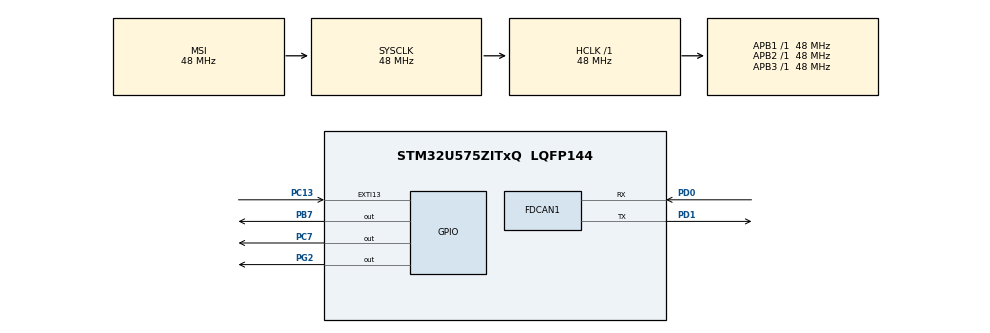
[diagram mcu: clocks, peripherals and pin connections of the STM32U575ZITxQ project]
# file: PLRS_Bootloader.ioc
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CORTEX_M33_NS.userName=CORTEX_M33
FDCAN1.AutoRetransmission=ENABLE
FDCAN1.CalculateBaudRateNominal=500000
FDCAN1.CalculateTimeBitNominal=2000
FDCAN1.CalculateTimeQuantumNominal=100.0
FDCAN1.DataPrescaler=2
FDCAN1.DataSyncJumpWidth=11
FDCAN1.DataTimeSeg1=13
FDCAN1.DataTimeSeg2=11
FDCAN1.ExtFiltersNbr=1
FDCAN1.FrameFormat=FDCAN_FRAME_FD_BRS
FDCAN1.NominalPrescaler=5
FDCAN1.NominalSyncJumpWidth=3
FDCAN1.NominalTimeSeg1=16
FDCAN1.NominalTimeSeg2=3
FDCAN1.StdFiltersNbr=1
Mcu.Family=STM32U5
Mcu.Name=STM32U575ZITxQ
Mcu.Package=LQFP144
NUCLEO-U575ZI-Q.BUTTON=1
NUCLEO-U575ZI-Q.LD1=true
NUCLEO-U575ZI-Q.LD2=true
NUCLEO-U575ZI-Q.LD3=true
NUCLEO-U575ZI-Q.VCP=true
NVIC.EXTI13_IRQn=true\:0\:0\:false\:false\:true\:false\:true\:true
NVIC.PriorityGroup=NVIC_PRIORITYGROUP_3
NVIC.TIM17_IRQn=true\:7\:0\:false\:false\:true\:false\:true\:true
NVIC.TimeBase=TIM17_IRQn
NVIC.TimeBaseIP=TIM17
PA10.Signal=USART1_RX
PA13\ (JTMS/SWDIO).Signal=DEBUG_JTMS-SWDIO
PA14\ (JTCK/SWCLK).Signal=DEBUG_JTCK-SWCLK
PA9.Signal=USART1_TX
PB3\ (JTDO/TRACESWO).Signal=DEBUG_JTDO-SWO
PB7.Signal=GPIO_Output
PC13.Signal=GPXTI13
PC14-OSC32_IN\ (PC14).Signal=RCC_OSC32_IN
PC15-OSC32_OUT\ (PC15).Signal=RCC_OSC32_OUT
PC7.Signal=GPIO_Output
PD0.Mode=FDCAN_Activate
PD0.Signal=FDCAN1_RX
PD1.Mode=FDCAN_Activate
PD1.Signal=FDCAN1_TX
PG2.Signal=GPIO_Output
PWR.PowerMode=PWR_SMPS_SUPPLY
ProjectManager.HeapSize=0x200
ProjectManager.StackSize=0x400
ProjectManager.TargetToolchain=STM32CubeIDE
RCC.ADCFreq_Value=16000000
RCC.AHBFreq_Value=48000000
RCC.APB1Freq_Value=48000000
RCC.APB1TimFreq_Value=48000000
RCC.APB2Freq_Value=48000000
RCC.APB2TimFreq_Value=48000000
RCC.APB3Freq_Value=48000000
RCC.CortexFreq_Value=48000000
RCC.DACCLockSelectionVirtual=RCC_DAC1CLKSOURCE_LSI
RCC.EPOD_VALUE=48000000
RCC.HCLKFreq_Value=48000000
RCC.HSE_VALUE=16000000
RCC.HSI48_VALUE=48000000
RCC.HSI_VALUE=16000000
RCC.LSE_VALUE=32768
RCC.LSIDIV_VALUE=32000
RCC.MSIClockRange=RCC_MSIRANGE_0
RCC.MSI_VALUE=48000000
RCC.PLL1Q=3
RCC.PLLFRACN=3072
RCC.PLLM=3
RCC.PLLN=9
RCC.SYSCLKFreq_VALUE=48000000
RCC.USBFreq_Value=48000000
RCC.VCOOutputFreq_Value=150000000
VP_ICACHE_VS_ENABLE_ICACHE_MEMORY.Mode=Memoryregions
VP_ICACHE_VS_ICACHE.Mode=DirectMappedCache
VP_LPBAMQUEUE_VS_QUEUE.Mode=QUEUEMODE
VP_LPBAM_VS_SIG1.Mode=SmartRun
VP_LPBAM_VS_SIG4.Mode=LPDMA1
VP_MEMORYMAP_VS_MEMORYMAP.Mode=CurAppReg
VP_NUCLEO-U575ZI-Q_VS_BSP_COMMON.Mode=COMMON
VP_PWR_VS_DBSignals.Mode=DisableDeadBatterySignals
VP_PWR_VS_LPOM.Mode=PowerOptimisation
VP_PWR_VS_SECSignals.Mode=Security/Privilege
VP_SYS_VS_tim17.Mode=TIM17
board=NUCLEO-U575ZI-Q

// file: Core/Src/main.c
/* USER CODE BEGIN Header */
/* USER CODE END Header */
#include "main.h"

/* USER CODE BEGIN Includes */
#include <string.h>
#include "flash_util.h"
/* USER CODE END Includes */

/* USER CODE BEGIN PTD */
typedef void (*pFunction)(void);
/* USER CODE END PTD */

/* USER CODE BEGIN PM */
#define MEM_LOWER_BOUND 0x20000000
#define MEM_UPPER_BOUND 0x200C0000
#define APP_DEFAULT_ADD  0x08100000  //Start of bank 2 data. This is the start of the running application
#define APP_LOAD_ADD  0x08020000	//Start of bank 1 data
#define APP_MAX_SIZE 0xE0000
#define BOOT_FLAG_ADD 0x0801E000
#define BOOT_FLAG 0xDEADBEEF
/* USER CODE END PM */

COM_InitTypeDef BspCOMInit;
FDCAN_HandleTypeDef hfdcan1;

void SystemClock_Config(void);
static void SystemPower_Config(void);
static void MX_GPIO_Init(void);
static void MX_ICACHE_Init(void);
static void MX_FDCAN1_Init(void);
void Flash_Erase(int start_page, int num_pages, int bank);
void Flash_Write(uint32_t address, uint8_t *data, uint32_t length);

/**
  * @brief  Bootloader entry point. On restart, the reset vector is initialized to enter here.
  * @retval int
  */
int main(void)
{
  /* USER CODE BEGIN 1 */
	while(1){
		//Simulate_FDCAN_Receive(data, data_len);
		//Copy to bank 2 if boot flag is true
		if ((*(uint32_t*)BOOT_FLAG_ADD) == BOOT_FLAG) {
			Flash_Erase(1,128,2); //wipe bank2 before writing to avoid artifacts
			Flash_Write(APP_DEFAULT_ADD, (uint8_t *)APP_LOAD_ADD, APP_MAX_SIZE);
		}
		//Jump to application
		//SCB->VTOR = APP_DEFAULT_ADD;
		uint32_t sp = *(__IO uint32_t*) APP_DEFAULT_ADD;
		if (sp >= MEM_LOWER_BOUND && sp <= MEM_UPPER_BOUND){
			__set_MSP(*(__IO uint32_t *)APP_DEFAULT_ADD);
			((pFunction)(*(__IO uint32_t *)(APP_DEFAULT_ADD + 4)))();
		}
	}
  /* USER CODE END 1 */

  /* MCU Configuration--------------------------------------------------------*/

  /* Reset of all peripherals, Initializes the Flash interface and the Systick. */
  HAL_Init();

  /* Configure the System Power */
  SystemPower_Config();

  /* Configure the system clock */
  SystemClock_Config();

  /* Initialize all configured peripherals */
  MX_GPIO_Init();
  MX_ICACHE_Init();
  MX_FDCAN1_Init();

  /* Initialize leds */
  BSP_LED_Init(LED_GREEN);
  BSP_LED_Init(LED_BLUE);
  BSP_LED_Init(LED_RED);

  /* Initialize USER push-button, will be used to trigger an interrupt each time it's pressed.*/
  BSP_PB_Init(BUTTON_USER, BUTTON_MODE_EXTI);

  /* Initialize COM1 port (115200, 8 bits (7-bit data + 1 stop bit), no parity */
  BspCOMInit.BaudRate   = 115200;
  BspCOMInit.WordLength = COM_WORDLENGTH_8B;
  BspCOMInit.StopBits   = COM_STOPBITS_1;
  BspCOMInit.Parity     = COM_PARITY_NONE;
  BspCOMInit.HwFlowCtl  = COM_HWCONTROL_NONE;
  if (BSP_COM_Init(COM1, &BspCOMInit) != BSP_ERROR_NONE)
  {
    Error_Handler();
  }

  /* Infinite loop */
  BSP_LED_On(LED_GREEN);
  BSP_LED_On(LED_BLUE);
  BSP_LED_On(LED_RED);
}

void SystemClock_Config(void)
{
  RCC_OscInitTypeDef RCC_OscInitStruct = {0};
  RCC_ClkInitTypeDef RCC_ClkInitStruct = {0};

  /** Configure the main internal regulator output voltage
  */
  if (HAL_PWREx_ControlVoltageScaling(PWR_REGULATOR_VOLTAGE_SCALE3) != HAL_OK)
  {
    Error_Handler();
  }

  /** Initializes the CPU, AHB and APB buses clocks
  */
  RCC_OscInitStruct.OscillatorType = RCC_OSCILLATORTYPE_MSI;
  RCC_OscInitStruct.MSIState = RCC_MSI_ON;
  RCC_OscInitStruct.MSICalibrationValue = RCC_MSICALIBRATION_DEFAULT;
  RCC_OscInitStruct.MSIClockRange = RCC_MSIRANGE_0;
  RCC_OscInitStruct.PLL.PLLState = RCC_PLL_ON;
  RCC_OscInitStruct.PLL.PLLSource = RCC_PLLSOURCE_MSI;
  RCC_OscInitStruct.PLL.PLLMBOOST = RCC_PLLMBOOST_DIV4;
  RCC_OscInitStruct.PLL.PLLM = 3;
  RCC_OscInitStruct.PLL.PLLN = 9;
  RCC_OscInitStruct.PLL.PLLP = 2;
  RCC_OscInitStruct.PLL.PLLQ = 3;
  RCC_OscInitStruct.PLL.PLLR = 2;
  RCC_OscInitStruct.PLL.PLLRGE = RCC_PLLVCIRANGE_1;
  RCC_OscInitStruct.PLL.PLLFRACN = 3072;
  if (HAL_RCC_OscConfig(&RCC_OscInitStruct) != HAL_OK)
  {
    Error_Handler();
  }

  /** Initializes the CPU, AHB and APB buses clocks
  */
  RCC_ClkInitStruct.ClockType = RCC_CLOCKTYPE_HCLK|RCC_CLOCKTYPE_SYSCLK
                              |RCC_CLOCKTYPE_PCLK1|RCC_CLOCKTYPE_PCLK2
                              |RCC_CLOCKTYPE_PCLK3;
  RCC_ClkInitStruct.SYSCLKSource = RCC_SYSCLKSOURCE_MSI;
  RCC_ClkInitStruct.AHBCLKDivider = RCC_SYSCLK_DIV1;
  RCC_ClkInitStruct.APB1CLKDivider = RCC_HCLK_DIV1;
  RCC_ClkInitStruct.APB2CLKDivider = RCC_HCLK_DIV1;
  RCC_ClkInitStruct.APB3CLKDivider = RCC_HCLK_DIV1;

  if (HAL_RCC_ClockConfig(&RCC_ClkInitStruct, FLASH_LATENCY_1) != HAL_OK)
  {
    Error_Handler();
  }
}

/**
  * @brief Power Configuration
  * @retval None
  */
static void SystemPower_Config(void)
{

  /*
   * Disable the internal Pull-Up in Dead Battery pins of UCPD peripheral
   */
  HAL_PWREx_DisableUCPDDeadBattery();

  /*
   * Switch to SMPS regulator instead of LDO
   */
  if (HAL_PWREx_ConfigSupply(PWR_SMPS_SUPPLY) != HAL_OK)
  {
    Error_Handler();
  }
}

static void MX_FDCAN1_Init(void)
{

  hfdcan1.Instance = FDCAN1;
  hfdcan1.Init.ClockDivider = FDCAN_CLOCK_DIV1;
  hfdcan1.Init.FrameFormat = FDCAN_FRAME_FD_BRS;
  hfdcan1.Init.Mode = FDCAN_MODE_NORMAL;
  hfdcan1.Init.AutoRetransmission = ENABLE;
  hfdcan1.Init.TransmitPause = DISABLE;
  hfdcan1.Init.ProtocolException = DISABLE;
  hfdcan1.Init.NominalPrescaler = 5;
  hfdcan1.Init.NominalSyncJumpWidth = 3;
  hfdcan1.Init.NominalTimeSeg1 = 16;
  hfdcan1.Init.NominalTimeSeg2 = 3;
  hfdcan1.Init.DataPrescaler = 2;
  hfdcan1.Init.DataSyncJumpWidth = 11;
  hfdcan1.Init.DataTimeSeg1 = 13;
  hfdcan1.Init.DataTimeSeg2 = 11;
  hfdcan1.Init.StdFiltersNbr = 1;
  hfdcan1.Init.ExtFiltersNbr = 1;
  hfdcan1.Init.TxFifoQueueMode = FDCAN_TX_FIFO_OPERATION;
  if (HAL_FDCAN_Init(&hfdcan1) != HAL_OK)
  {
    Error_Handler();
  }

}

static void MX_ICACHE_Init(void)
{

  /** Enable instruction cache in 1-way (direct mapped cache)
  */
  if (HAL_ICACHE_ConfigAssociativityMode(ICACHE_1WAY) != HAL_OK)
  {
    Error_Handler();
  }
  if (HAL_ICACHE_Enable() != HAL_OK)
  {
    Error_Handler();
  }

}

static void MX_GPIO_Init(void)
{

  /* GPIO Ports Clock Enable */
  __HAL_RCC_GPIOC_CLK_ENABLE();
  __HAL_RCC_GPIOA_CLK_ENABLE();
  __HAL_RCC_GPIOD_CLK_ENABLE();
  __HAL_RCC_GPIOB_CLK_ENABLE();

}

void HAL_TIM_PeriodElapsedCallback(TIM_HandleTypeDef *htim)
{
  if (htim->Instance == TIM17) {
    HAL_IncTick();
  }
}

void Error_Handler(void)
{
}
